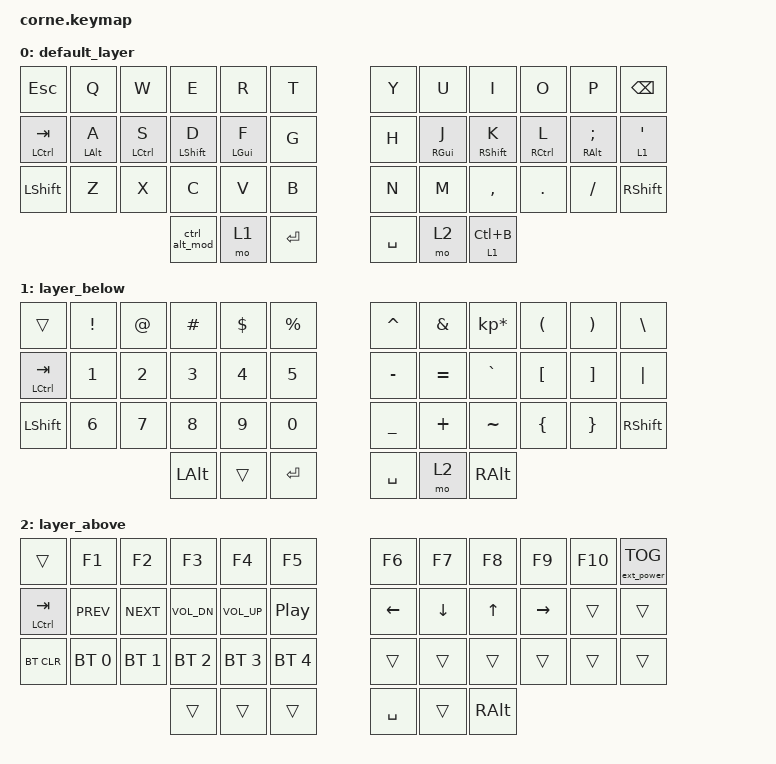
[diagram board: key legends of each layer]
/*
 * Copyright (c) 2020 The ZMK Contributors
 *
 * SPDX-License-Identifier: MIT
 */

#include <behaviors.dtsi>
#include <dt-bindings/zmk/keys.h>
#include <dt-bindings/zmk/bt.h>
#include <dt-bindings/zmk/ext_power.h>

/ {
        behaviors {
          tp: tap_preferred {
            compatible = "zmk,behavior-hold-tap";
            label = "TAP_PREFERRED";
            #binding-cells = <2>;
            tapping-term-ms = <150>;
            quick-tap-ms = <0>;
            flavor = "tap-preferred";
            bindings = <&kp>, <&kp>;
          };
          hm: homerow_mods {
            compatible = "zmk,behavior-hold-tap";
            label = "HOMEROW_MODS";
            #binding-cells = <2>;
            tapping-term-ms = <200>;
            quick-tap-ms = <150>;
            require-prior-idle-ms = <150>;
            flavor = "balanced";
            bindings = <&kp>, <&kp>;
          };
          tmux_ctrl: tmux_ctrl {
            compatible = "zmk,behavior-hold-tap";
            label = "TMUX_CTRL";
            #binding-cells = <2>;
            tapping-term-ms = <200>;
            quick-tap-ms = <150>;
            flavor = "tap-preferred";
            bindings = <&kp>, <&kp>;
          };
        };

        macros {
          ctrl_alt_mod: ctrl_alt_modifier {
            compatible = "zmk,behavior-macro";
            label = "CTRL_ALT_MOD";
            #binding-cells = <0>;
            bindings
                = <&macro_press &kp LCTRL &kp LALT>
                , <&macro_pause_for_release>
                , <&macro_release &kp LCTRL &kp LALT>
                ;
          };
        };



        keymap {
                compatible = "zmk,keymap";

                default_layer {
// -----------------------------------------------------------------------------------------
// | TAB  |  Q  |  W  |  E  |  R  |    T    |   |  Y  |  U   |  I  |  O  |  P  | ESC |
// | CTRL |  A  |  S  |  D  |  F  |    G    |   |  H  |  J   |  K  |  L  |  ;  |  LWR/'   |
// | SHFT |  Z  |  X  |  C  |  V  |    B    |   |  N  |  M   |  ,  |  .  |  /  | SHFT |
//                    | GUI | LWR | ALT/ENT |   | HYPER/SPC | BKSP  | RSE |
                        bindings = <
   &kp ESC   &kp Q &kp W &kp E &kp R &kp T   &kp Y &kp U  &kp I     &kp O   &kp P    &kp BSPC
   &mt LCTRL TAB &hm LALT A &hm LCTRL S &hm LSHFT D &hm LGUI F &kp G   &kp H &hm RGUI J  &hm RSHFT K     &hm RCTRL L   &hm RALT SEMI &lt 1 SQT
   &kp LSHFT &kp Z &kp X &kp C &kp V &kp B   &kp N &kp M  &kp COMMA &kp DOT &kp FSLH &kp RSHFT 
               &ctrl_alt_mod &mo 1 &kp RET   &kp SPACE &mo 2 &lt 1 LC(B)
                        >;
                };

                layer_below {
// -----------------------------------------------------------------------------------------
// |      |  !  |  @  |  #  |  $  |    %     |   |  ^  |  &  |  *  |  (  |  )  |   \   |
// |      |  1  |  2  |  3  |  4  |    5     |   |  -  |  =  |  `  |  [  |  ]  |  "|"  |
// | SHFT |  6  |  7  |  8  |  9  |    0     |   |  _  |  +  |  ~  |  {  |  }  | RSHFT |
//                     | GUI |     | ALT/ENT |   | HYPER/SPACE | BKSP |    |
                        bindings = <
   &trans    &kp EXCL &kp AT &kp HASH &kp DLLR &kp PRCNT   &kp CARET  &kp AMPS  &kp KP_MULTIPLY &kp LPAR &kp RPAR &kp BSLH
   &mt LCTRL TAB &kp N1   &kp N2 &kp N3   &kp N4   &kp N5      &kp MINUS  &kp EQUAL &kp GRAVE       &kp LBKT &kp RBKT &kp PIPE
   &kp LSHFT &kp N6   &kp N7 &kp N8   &kp N9   &kp N0      &kp UNDER  &kp PLUS  &kp TILDE       &kp LBRC &kp RBRC &kp RSHFT
                         &kp LALT &trans  &kp RET     &kp SPACE &mo 2 &kp RALT
                        >;
                };

                layer_above {
// -----------------------------------------------------------------------------------------
// |       |  F1  |  F2  |  F3  |  F4  |  F5 |            |  F6  |  F7  |  F8  |  F9  |  F10  | EXTPWR |
// |       | Prev | Next | Vol - | Vol + | Play/Pause |   |      | LFT | DWN |  UP | RGT |     |     |
// | BTCLR | BT1 | BT2 | BT3 | BT4 | BT5 |   |            |     |     |     |     |     |     |
//                    |     |     |    |                  |     |     |     |
                        bindings = <
   &trans     &kp F1        &kp F2       &kp F3       &kp F4       &kp F5          &kp F6   &kp F7   &kp F8 &kp F9    &kp F10 &ext_power EP_TOG
   &mt LCTRL TAB &kp C_PREV    &kp C_NEXT   &kp C_VOL_DN &kp C_VOL_UP &kp C_PP        &kp LEFT &kp DOWN &kp UP &kp RIGHT &trans &trans
   &bt BT_CLR &bt BT_SEL 0  &bt BT_SEL 1 &bt BT_SEL 2 &bt BT_SEL 3 &bt BT_SEL 4    &trans   &trans   &trans &trans    &trans &trans
                          	                        &trans   &trans   &trans       &kp SPACE &trans &kp RALT
                        >;
                };
        };
};
